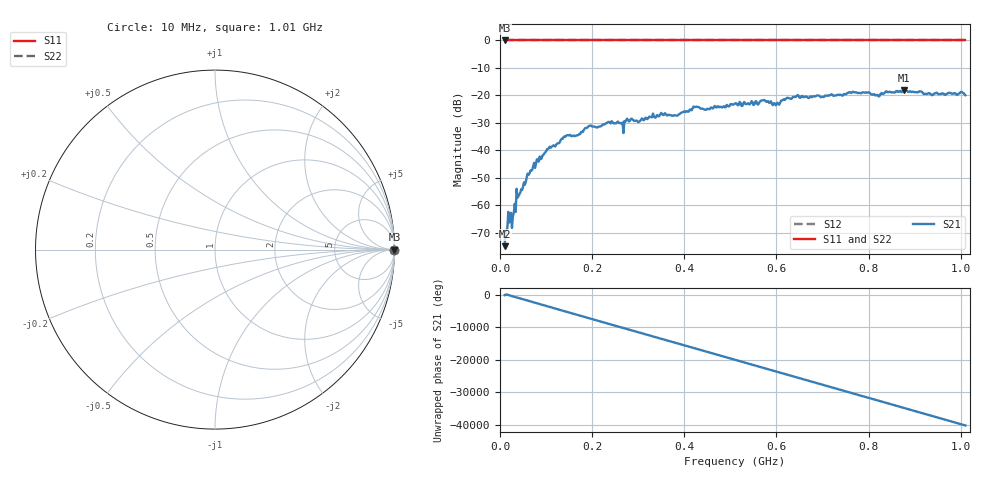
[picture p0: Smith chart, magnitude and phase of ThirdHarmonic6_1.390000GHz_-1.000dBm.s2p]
! 8/16/2025 3:50:34 PM
! C:\ANRITSUVNA\TEMP\TEMP.S2P
! CHANNEL.1
! TR.MEASUREMENT
! RAW.DATA
! RF.CORRECTION.OFF
! AVERAGING.OFF
! IF.BANDWIDTH: 5KHZ
! SWEEPTYPE:  FREQ.SWEEP(Linear)
! Reference Plane Port Info
! PORT:  PORT1  PORT2
! DISTANCE:  0  m  0  m
! TIME:  0  s  0  s
! PHASE.OFFSET:  0  deg.  0  deg.
! LOSS:  0  dB  0  dB
! REF.LOSS:  0  dB  0  dB
! REF.FREQ:  0  Hz  0  Hz
! Power Info
! POWER:  -20  dBm  -20  dBm
! EFF.POWER:  -20  dBm  -20  dBm
! SOURCE.ATTEN:  0  dB  0  dB
! TEST.ATTEN:  0  dB  0  dB
# GHZ S RI R 50.0
! FREQ.GHZ  S11RE  S11IM  S21RE  S21IM  S12RE  S12IM  S22RE  S22IM
!; PortSelection: Port_12
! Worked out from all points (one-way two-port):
!   501 points, 10 MHz to 1.01 GHz, reference 50 ohm
!   highest |S21| = -18.05 dB at 876 MHz (marker M1); lowest = -74.9 dB at 10 MHz (marker M2)
!   lowest |S11| = 0.0 dB at 10 MHz (marker M3)
!   |S11| at or under -10 dB: nowhere
!   |S22| runs from 0.0 to 0.0 dB; largest |S21 - S12| = 1.1
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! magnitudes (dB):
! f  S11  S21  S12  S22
! 10 MHz  0.0  -74.9  0.0  0.0
! 20 MHz  0.0  -66.3  0.0  0.0
! 30 MHz  0.0  -62.7  0.0  0.0
! 32 MHz  0.0  -59.4  0.0  0.0
! 40 MHz  0.0  -56.8  0.0  0.0
! 78 MHz  0.0  -45.1  0.0  0.0
! 104 MHz  0.0  -39.5  0.0  0.0
! 142 MHz  0.0  -35.0  0.0  0.0
! 178 MHz  0.0  -33.3  0.0  0.0
! 194 MHz  0.0  -31.1  0.0  0.0
! 240 MHz  0.0  -30.2  0.0  0.0
! 264 MHz  0.0  -30.2  0.0  0.0
! 274 MHz  0.0  -29.0  0.0  0.0
! 344 MHz  0.0  -27.7  0.0  0.0
! 510 MHz  0.0  -22.9  0.0  0.0
! 572 MHz  0.0  -21.7  0.0  0.0
! 602 MHz  0.0  -22.7  0.0  0.0
! 644 MHz  0.0  -20.2  0.0  0.0
! 678 MHz  0.0  -20.5  0.0  0.0
! 844 MHz  0.0  -18.7  0.0  0.0
! 876 MHz  0.0  -18.0  0.0  0.0
! 1.01 GHz  0.0  -20.0  0.0  0.0
